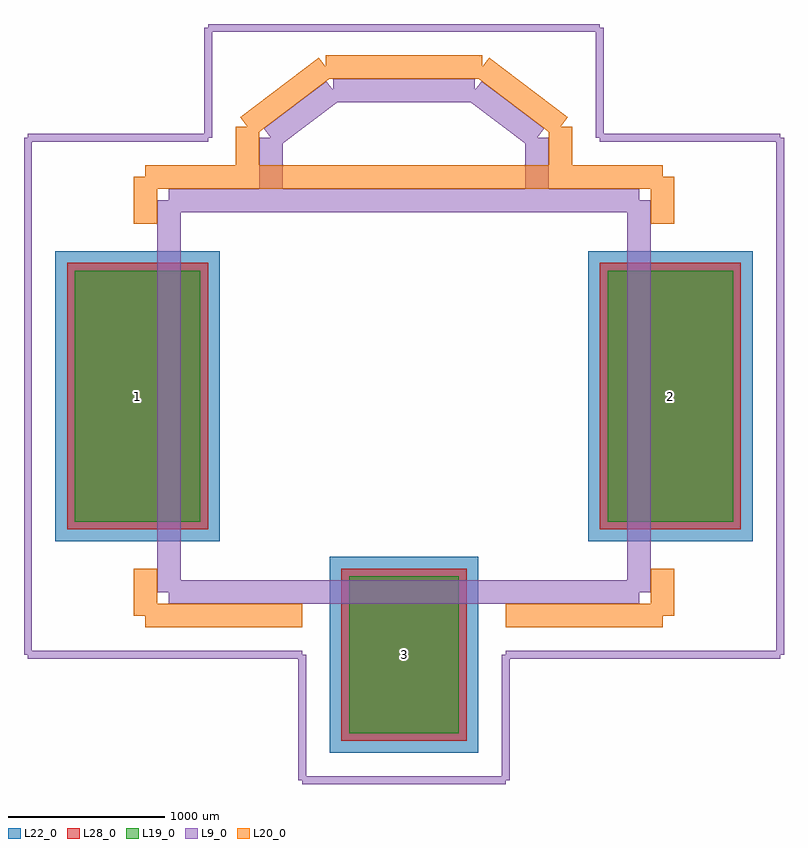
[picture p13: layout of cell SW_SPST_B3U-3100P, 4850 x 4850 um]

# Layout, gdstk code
import gdstk
lib = gdstk.Library(unit=1e-6, precision=1e-09)
def R(c, l, rs):  # rectangles x0, y0, x1, y1
    for r in rs: c.add(gdstk.rectangle(r[:2], r[2:], *l))
L9_0 = (9, 0)
L19_0 = (19, 0)
L20_0 = (20, 0)
L22_0 = (22, 0)
L28_0 = (28, 0)

sw_spst_b3u_3100p = lib.new_cell('SW_SPST_B3U-3100P')
R(sw_spst_b3u_3100p, L19_0, [(-350,-2150,350,-1150), (-2100,-800,-1300,800), (1300,-800,2100,800)])
R(sw_spst_b3u_3100p, L22_0, [(-475,-2275,475,-1025), (-2225,-925,-1175,925), (1175,-925,2225,925)])
R(sw_spst_b3u_3100p, L28_0, [(-400,-2200,400,-1100), (-2150,-850,-1250,850), (1250,-850,2150,850)])
sw_spst_b3u_3100p.add(gdstk.FlexPath([(-1500,-1250),(-1500,1250)], 149.998, ends="flush", simple_path=True, layer=9, datatype=0))  # L9_0
sw_spst_b3u_3100p.add(gdstk.FlexPath([(1500,-1250),(-1500,-1250)], 149.998, ends="flush", simple_path=True, layer=9, datatype=0))  # L9_0
sw_spst_b3u_3100p.add(gdstk.FlexPath([(1500,1250),(1500,-1250)], 149.998, ends="flush", simple_path=True, layer=9, datatype=0))  # L9_0
sw_spst_b3u_3100p.add(gdstk.FlexPath([(-1500,1250),(1500,1250)], 149.998, ends="flush", simple_path=True, layer=9, datatype=0))  # L9_0
sw_spst_b3u_3100p.add(gdstk.FlexPath([(1650,1400),(1650,1100)], 149.998, ends="flush", simple_path=True, layer=20, datatype=0))  # L20_0
sw_spst_b3u_3100p.add(gdstk.FlexPath([(-1650,1400),(1650,1400)], 149.998, ends="flush", simple_path=True, layer=20, datatype=0))  # L20_0
sw_spst_b3u_3100p.add(gdstk.FlexPath([(-1650,1100),(-1650,1400)], 149.998, ends="flush", simple_path=True, layer=20, datatype=0))  # L20_0
sw_spst_b3u_3100p.add(gdstk.FlexPath([(1650,-1400),(1650,-1100)], 149.998, ends="flush", simple_path=True, layer=20, datatype=0))  # L20_0
sw_spst_b3u_3100p.add(gdstk.FlexPath([(1650,-1400),(650,-1400)], 149.998, ends="flush", simple_path=True, layer=20, datatype=0))  # L20_0
sw_spst_b3u_3100p.add(gdstk.FlexPath([(-1650,-1100),(-1650,-1400)], 149.998, ends="flush", simple_path=True, layer=20, datatype=0))  # L20_0
sw_spst_b3u_3100p.add(gdstk.FlexPath([(-2400,1650),(-2400,-1650)], 50, ends="flush", simple_path=True, layer=9, datatype=0))  # L9_0
sw_spst_b3u_3100p.add(gdstk.FlexPath([(2400,-1650),(2400,1650)], 50, ends="flush", simple_path=True, layer=9, datatype=0))  # L9_0
sw_spst_b3u_3100p.add(gdstk.FlexPath([(-2400,-1650),(-650,-1650)], 50, ends="flush", simple_path=True, layer=9, datatype=0))  # L9_0
sw_spst_b3u_3100p.add(gdstk.FlexPath([(-1650,-1400),(-650,-1400)], 149.998, ends="flush", simple_path=True, layer=20, datatype=0))  # L20_0
sw_spst_b3u_3100p.add(gdstk.FlexPath([(650,-1650),(2400,-1650)], 50, ends="flush", simple_path=True, layer=9, datatype=0))  # L9_0
sw_spst_b3u_3100p.add(gdstk.FlexPath([(650,-2450),(650,-1650)], 50, ends="flush", simple_path=True, layer=9, datatype=0))  # L9_0
sw_spst_b3u_3100p.add(gdstk.FlexPath([(-650,-2450),(650,-2450)], 50, ends="flush", simple_path=True, layer=9, datatype=0))  # L9_0
sw_spst_b3u_3100p.add(gdstk.FlexPath([(-650,-1650),(-650,-2450)], 50, ends="flush", simple_path=True, layer=9, datatype=0))  # L9_0
sw_spst_b3u_3100p.add(gdstk.FlexPath([(850,1650),(850,1250)], 149.998, ends="flush", simple_path=True, layer=9, datatype=0))  # L9_0
sw_spst_b3u_3100p.add(gdstk.FlexPath([(450,1950),(850,1650)], 149.998, ends="flush", simple_path=True, layer=9, datatype=0))  # L9_0
sw_spst_b3u_3100p.add(gdstk.FlexPath([(-450,1950),(450,1950)], 149.998, ends="flush", simple_path=True, layer=9, datatype=0))  # L9_0
sw_spst_b3u_3100p.add(gdstk.FlexPath([(-850,1650),(-450,1950)], 149.998, ends="flush", simple_path=True, layer=9, datatype=0))  # L9_0
sw_spst_b3u_3100p.add(gdstk.FlexPath([(-850,1250),(-850,1650)], 149.998, ends="flush", simple_path=True, layer=9, datatype=0))  # L9_0
sw_spst_b3u_3100p.add(gdstk.FlexPath([(1000,1720),(1000,1400)], 149.998, ends="flush", simple_path=True, layer=20, datatype=0))  # L20_0
sw_spst_b3u_3100p.add(gdstk.FlexPath([(500,2100),(1000,1720)], 149.998, ends="flush", simple_path=True, layer=20, datatype=0))  # L20_0
sw_spst_b3u_3100p.add(gdstk.FlexPath([(-500,2100),(500,2100)], 149.998, ends="flush", simple_path=True, layer=20, datatype=0))  # L20_0
sw_spst_b3u_3100p.add(gdstk.FlexPath([(-1000,1720),(-1000,1400)], 149.998, ends="flush", simple_path=True, layer=20, datatype=0))  # L20_0
sw_spst_b3u_3100p.add(gdstk.FlexPath([(-500,2100),(-1000,1720)], 149.998, ends="flush", simple_path=True, layer=20, datatype=0))  # L20_0
sw_spst_b3u_3100p.add(gdstk.FlexPath([(1250,1650),(2400,1650)], 50, ends="flush", simple_path=True, layer=9, datatype=0))  # L9_0
sw_spst_b3u_3100p.add(gdstk.FlexPath([(1250,2350),(1250,1650)], 50, ends="flush", simple_path=True, layer=9, datatype=0))  # L9_0
sw_spst_b3u_3100p.add(gdstk.FlexPath([(-1250,2350),(1250,2350)], 50, ends="flush", simple_path=True, layer=9, datatype=0))  # L9_0
sw_spst_b3u_3100p.add(gdstk.FlexPath([(-1250,1650),(-1250,2350)], 50, ends="flush", simple_path=True, layer=9, datatype=0))  # L9_0
sw_spst_b3u_3100p.add(gdstk.FlexPath([(-1250,1650),(-2400,1650)], 50, ends="flush", simple_path=True, layer=9, datatype=0))  # L9_0
sw_spst_b3u_3100p.add(gdstk.Label('3', (0,-1650), layer=28, texttype=0))
sw_spst_b3u_3100p.add(gdstk.Label('2', (1700,0), layer=28, texttype=0))
sw_spst_b3u_3100p.add(gdstk.Label('1', (-1700,0), layer=28, texttype=0))
sw_spst_b3u_3100p.add(gdstk.Label('type', (0,-3500), layer=9, texttype=0))
sw_spst_b3u_3100p.add(gdstk.Label('devicename', (0,3250), layer=9, texttype=0))

lib.write_gds('SW_SPST_B3U-3100P.gds')
